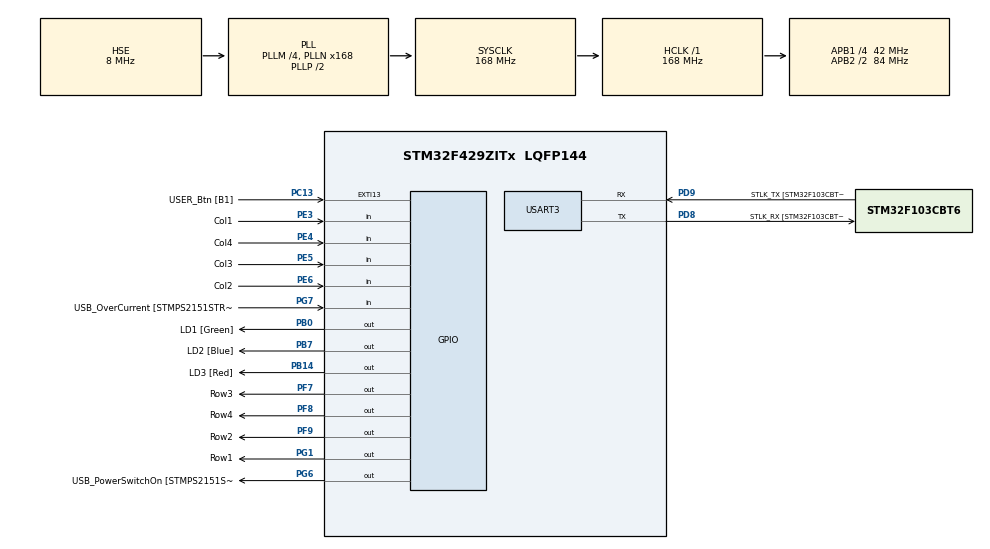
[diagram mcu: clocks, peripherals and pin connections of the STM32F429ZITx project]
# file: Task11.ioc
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Mcu.Family=STM32F4
Mcu.Name=STM32F429ZITx
Mcu.Package=LQFP144
NVIC.PriorityGroup=NVIC_PRIORITYGROUP_4
NVIC.TIM3_IRQn=true\:0\:0\:false\:false\:true\:true\:true\:true
PA1.GPIO_Label=RMII_REF_CLK [LAN8742A-CZ-TR_REFCLK0]
PA1.Signal=ETH_REF_CLK
PA10.GPIO_Label=USB_ID
PA10.Signal=USB_OTG_FS_ID
PA11.GPIO_Label=USB_DM
PA11.Signal=USB_OTG_FS_DM
PA12.GPIO_Label=USB_DP
PA12.Signal=USB_OTG_FS_DP
PA13.GPIO_Label=TMS
PA13.Mode=Serial_Wire
PA13.Signal=SYS_JTMS-SWDIO
PA14.GPIO_Label=TCK
PA14.Mode=Serial_Wire
PA14.Signal=SYS_JTCK-SWCLK
PA2.GPIO_Label=RMII_MDIO [LAN8742A-CZ-TR_MDIO]
PA2.Signal=ETH_MDIO
PA7.GPIO_Label=RMII_CRS_DV [LAN8742A-CZ-TR_CRS_DV]
PA7.Signal=ETH_CRS_DV
PA8.GPIO_Label=USB_SOF [TP1]
PA8.Signal=USB_OTG_FS_SOF
PA9.GPIO_Label=USB_VBUS
PA9.Signal=USB_OTG_FS_VBUS
PB0.GPIO_Label=LD1 [Green]
PB0.Signal=GPIO_Output
PB13.GPIO_Label=RMII_TXD1 [LAN8742A-CZ-TR_TXD1]
PB13.Signal=ETH_TXD1
PB14.GPIO_Label=LD3 [Red]
PB14.Signal=GPIO_Output
PB7.GPIO_Label=LD2 [Blue]
PB7.Signal=GPIO_Output
PC1.GPIO_Label=RMII_MDC [LAN8742A-CZ-TR_MDC]
PC1.Signal=ETH_MDC
PC13.GPIO_Label=USER_Btn [B1]
PC13.Signal=GPXTI13
PC14/OSC32_IN.Mode=LSE-External-Oscillator
PC14/OSC32_IN.Signal=RCC_OSC32_IN
PC15/OSC32_OUT.Mode=LSE-External-Oscillator
PC15/OSC32_OUT.Signal=RCC_OSC32_OUT
PC4.GPIO_Label=RMII_RXD0 [LAN8742A-CZ-TR_RXD0]
PC4.Signal=ETH_RXD0
PC5.GPIO_Label=RMII_RXD1 [LAN8742A-CZ-TR_RXD1]
PC5.Signal=ETH_RXD1
PD8.GPIO_Label=STLK_RX [STM32F103CBT6_PA3]
PD8.Mode=Asynchronous
PD8.Signal=USART3_TX
PD9.GPIO_Label=STLK_TX [STM32F103CBT6_PA2]
PD9.Mode=Asynchronous
PD9.Signal=USART3_RX
PE3.GPIO_Label=Col1
PE3.GPIO_PuPd=GPIO_PULLUP
PE3.Signal=GPIO_Input
PE4.GPIO_Label=Col4
PE4.GPIO_PuPd=GPIO_PULLUP
PE4.Signal=GPIO_Input
PE5.GPIO_Label=Col3
PE5.GPIO_PuPd=GPIO_PULLUP
PE5.Signal=GPIO_Input
PE6.GPIO_Label=Col2
PE6.GPIO_PuPd=GPIO_PULLUP
PE6.Signal=GPIO_Input
PF7.GPIO_Label=Row3
PF7.GPIO_ModeDefaultOutputPP=GPIO_MODE_OUTPUT_OD
PF7.GPIO_PuPd=GPIO_NOPULL
PF7.Signal=GPIO_Output
PF8.GPIO_Label=Row4
PF8.GPIO_ModeDefaultOutputPP=GPIO_MODE_OUTPUT_OD
PF8.GPIO_PuPd=GPIO_NOPULL
PF8.Signal=GPIO_Output
PF9.GPIO_Label=Row2
PF9.GPIO_ModeDefaultOutputPP=GPIO_MODE_OUTPUT_OD
PF9.GPIO_PuPd=GPIO_NOPULL
PF9.Signal=GPIO_Output
PG1.GPIO_Label=Row1
PG1.GPIO_ModeDefaultOutputPP=GPIO_MODE_OUTPUT_OD
PG1.GPIO_PuPd=GPIO_NOPULL
PG1.Signal=GPIO_Output
PG11.GPIO_Label=RMII_TX_EN [LAN8742A-CZ-TR_TXEN]
PG11.Signal=ETH_TX_EN
PG13.GPIO_Label=RMII_TXD0 [LAN8742A-CZ-TR_TXD0]
PG13.Signal=ETH_TXD0
PG6.GPIO_Label=USB_PowerSwitchOn [STMPS2151STR_EN]
PG6.Signal=GPIO_Output
PG7.GPIO_Label=USB_OverCurrent [STMPS2151STR_FAULT]
PG7.Signal=GPIO_Input
PH0/OSC_IN.GPIO_Label=MCO [STM32F103CBT6_PA8]
PH0/OSC_IN.Mode=HSE-External-Clock-Source
PH0/OSC_IN.Signal=RCC_OSC_IN
PH1/OSC_OUT.Mode=HSE-External-Clock-Source
PH1/OSC_OUT.Signal=RCC_OSC_OUT
ProjectManager.HeapSize=0x200
ProjectManager.StackSize=0x400
ProjectManager.TargetToolchain=STM32CubeIDE
RCC.48MHZClocksFreq_Value=48000000
RCC.AHBFreq_Value=168000000
RCC.APB1CLKDivider=RCC_HCLK_DIV4
RCC.APB1Freq_Value=42000000
RCC.APB1TimFreq_Value=84000000
RCC.APB2CLKDivider=RCC_HCLK_DIV2
RCC.APB2Freq_Value=84000000
RCC.APB2TimCLKDivider=2
RCC.APB2TimFreq_Value=168000000
RCC.CortexFreq_Value=168000000
RCC.HCLKFreq_Value=168000000
RCC.HSE_VALUE=8000000
RCC.HSI_VALUE=16000000
RCC.PLLM=4
RCC.PLLMUL=RCC_PLL_MUL9
RCC.PLLN=168
RCC.PLLQ=7
RCC.PLLSourceVirtual=RCC_PLLSOURCE_HSE
RCC.PRESCALERUSB=RCC_USBCLKSOURCE_PLL_DIV1_5
RCC.SYSCLKFreq_VALUE=168000000
RCC.SYSCLKSource=RCC_SYSCLKSOURCE_PLLCLK
RCC.SYSCLKSourceVirtual=RCC_SYSCLKSOURCE_PLLCLK
RCC.USBFreq_Value=48000000
RCC.VCOOutputFreq_Value=336000000
TIM3.AutoReloadPreload=TIM_AUTORELOAD_PRELOAD_ENABLE
TIM3.Period=99
TIM3.Prescaler=8399
USART3.VirtualMode=VM_ASYNC
VP_TIM3_VS_ClockSourceINT.Mode=Internal
board=NUCLEO-F429ZI

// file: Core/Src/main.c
/* USER CODE BEGIN Header */
/**
  ******************************************************************************
  * @file           : main.c
  * @brief          : Main program body
  ******************************************************************************
  * @attention
  *
  * Copyright (c) 2024 STMicroelectronics.
  * All rights reserved.
  *
  * This software is licensed under terms that can be found in the LICENSE file
  * in the root directory of this software component.
  * If no LICENSE file comes with this software, it is provided AS-IS.
  *
  ******************************************************************************
  */
/* USER CODE END Header */
#include "main.h"

/* USER CODE BEGIN Includes */
#include <stdio.h>

/* USER CODE END Includes */

TIM_HandleTypeDef htim3;

UART_HandleTypeDef huart3;

/* USER CODE BEGIN PV */
int __io_putchar(int ch)
{
ITM_SendChar(ch);
return 0;
}

static volatile char key = 0;
static const char unlock_code[] = { '7', '9', '3', '2', '#' };
static uint8_t position = 0;
static uint32_t last_press_time = 0;
static uint32_t unlock_time = 0;
static uint8_t is_unlocked = 0;

/* USER CODE END PV */

void SystemClock_Config(void);
static void MX_GPIO_Init(void);
static void MX_USART3_UART_Init(void);
static void MX_TIM3_Init(void);

int main(void)
{

  /* MCU Configuration--------------------------------------------------------*/

  /* Reset of all peripherals, Initializes the Flash interface and the Systick. */
  HAL_Init();

  /* Configure the system clock */
  SystemClock_Config();

  /* Initialize all configured peripherals */
  MX_GPIO_Init();
  MX_USART3_UART_Init();
  MX_TIM3_Init();
  /* USER CODE BEGIN 2 */

  HAL_TIM_Base_Start_IT(&htim3);

  /* USER CODE END 2 */

  /* Infinite loop */
  /* USER CODE BEGIN WHILE */
  while (1)
  {

	//  HAL_GPIO_TogglePin(LD1_GPIO_Port, LD1_Pin);
	//  HAL_Delay(300);
	 // printf("Hello World!\n");

	 // if (key != 0) {
	 //  printf("pressed '%c'\n", key);
	  // HAL_Delay(500);
	 //  key = 0;
	 // }

	  // Main Loop Logic (Place in USER CODE WHILE section)
	  if (key != 0) { // If a key is pressed
	  	last_press_time = HAL_GetTick(); // Update the last press time

	  	if (key == unlock_code[position]) { // Check if the key matches the sequence
	  		position++;
	  		if (position == 5) { // If the full sequence is entered
	  			HAL_GPIO_WritePin(LD1_GPIO_Port, LD1_Pin, GPIO_PIN_SET); // Unlock LED
	  			printf("Unlocked!\n");
	  			is_unlocked = 1;
	  			unlock_time = HAL_GetTick();
	  			position = 0; // Reset the sequence
	  		}
	  	} else { // Incorrect key pressed
	  		position = 0; // Reset the sequence
	  		printf("Incorrect key. Resetting...\n");
	  	}

	  	printf("Key pressed: %c\n", key); // Print the key to debug console
	  	HAL_Delay(200);
	  	key = 0; // Reset the key to process the next input
	  }

	  // After unlocking, turn off the LED after 5 seconds
	  	  if (is_unlocked && (HAL_GetTick() - unlock_time > 5000)) { // 5 seconds after unlocking
	  	      HAL_GPIO_WritePin(LD1_GPIO_Port, LD1_Pin, GPIO_PIN_RESET); // Turn off LED
	  	      printf("LED turned off after 5 seconds.\n"); // Debugging message for LED off
	  	      is_unlocked = 0; // Reset the unlocked state
	  	  }

	  // Handle timeout (Reset position after 10 seconds)
	  if (HAL_GetTick() - last_press_time > 10000) { // 10-second timeout
	  	position = 0; // Reset the sequence
	  }

    /* USER CODE END WHILE */

  }
}

void SystemClock_Config(void)
{
  RCC_OscInitTypeDef RCC_OscInitStruct = {0};
  RCC_ClkInitTypeDef RCC_ClkInitStruct = {0};

  /** Configure the main internal regulator output voltage
  */
  __HAL_RCC_PWR_CLK_ENABLE();
  __HAL_PWR_VOLTAGESCALING_CONFIG(PWR_REGULATOR_VOLTAGE_SCALE1);

  /** Initializes the RCC Oscillators according to the specified parameters
  * in the RCC_OscInitTypeDef structure.
  */
  RCC_OscInitStruct.OscillatorType = RCC_OSCILLATORTYPE_HSE;
  RCC_OscInitStruct.HSEState = RCC_HSE_BYPASS;
  RCC_OscInitStruct.PLL.PLLState = RCC_PLL_ON;
  RCC_OscInitStruct.PLL.PLLSource = RCC_PLLSOURCE_HSE;
  RCC_OscInitStruct.PLL.PLLM = 4;
  RCC_OscInitStruct.PLL.PLLN = 168;
  RCC_OscInitStruct.PLL.PLLP = RCC_PLLP_DIV2;
  RCC_OscInitStruct.PLL.PLLQ = 7;
  if (HAL_RCC_OscConfig(&RCC_OscInitStruct) != HAL_OK)
  {
    Error_Handler();
  }

  /** Initializes the CPU, AHB and APB buses clocks
  */
  RCC_ClkInitStruct.ClockType = RCC_CLOCKTYPE_HCLK|RCC_CLOCKTYPE_SYSCLK
                              |RCC_CLOCKTYPE_PCLK1|RCC_CLOCKTYPE_PCLK2;
  RCC_ClkInitStruct.SYSCLKSource = RCC_SYSCLKSOURCE_PLLCLK;
  RCC_ClkInitStruct.AHBCLKDivider = RCC_SYSCLK_DIV1;
  RCC_ClkInitStruct.APB1CLKDivider = RCC_HCLK_DIV4;
  RCC_ClkInitStruct.APB2CLKDivider = RCC_HCLK_DIV2;

  if (HAL_RCC_ClockConfig(&RCC_ClkInitStruct, FLASH_LATENCY_5) != HAL_OK)
  {
    Error_Handler();
  }
}

static void MX_TIM3_Init(void)
{

  TIM_ClockConfigTypeDef sClockSourceConfig = {0};
  TIM_MasterConfigTypeDef sMasterConfig = {0};

  htim3.Instance = TIM3;
  htim3.Init.Prescaler = 8399;
  htim3.Init.CounterMode = TIM_COUNTERMODE_UP;
  htim3.Init.Period = 99;
  htim3.Init.ClockDivision = TIM_CLOCKDIVISION_DIV1;
  htim3.Init.AutoReloadPreload = TIM_AUTORELOAD_PRELOAD_ENABLE;
  if (HAL_TIM_Base_Init(&htim3) != HAL_OK)
  {
    Error_Handler();
  }
  sClockSourceConfig.ClockSource = TIM_CLOCKSOURCE_INTERNAL;
  if (HAL_TIM_ConfigClockSource(&htim3, &sClockSourceConfig) != HAL_OK)
  {
    Error_Handler();
  }
  sMasterConfig.MasterOutputTrigger = TIM_TRGO_RESET;
  sMasterConfig.MasterSlaveMode = TIM_MASTERSLAVEMODE_DISABLE;
  if (HAL_TIMEx_MasterConfigSynchronization(&htim3, &sMasterConfig) != HAL_OK)
  {
    Error_Handler();
  }

}

static void MX_USART3_UART_Init(void)
{

  huart3.Instance = USART3;
  huart3.Init.BaudRate = 115200;
  huart3.Init.WordLength = UART_WORDLENGTH_8B;
  huart3.Init.StopBits = UART_STOPBITS_1;
  huart3.Init.Parity = UART_PARITY_NONE;
  huart3.Init.Mode = UART_MODE_TX_RX;
  huart3.Init.HwFlowCtl = UART_HWCONTROL_NONE;
  huart3.Init.OverSampling = UART_OVERSAMPLING_16;
  if (HAL_UART_Init(&huart3) != HAL_OK)
  {
    Error_Handler();
  }

}

static void MX_GPIO_Init(void)
{
  GPIO_InitTypeDef GPIO_InitStruct = {0};

  /* GPIO Ports Clock Enable */
  __HAL_RCC_GPIOE_CLK_ENABLE();
  __HAL_RCC_GPIOC_CLK_ENABLE();
  __HAL_RCC_GPIOF_CLK_ENABLE();
  __HAL_RCC_GPIOH_CLK_ENABLE();
  __HAL_RCC_GPIOA_CLK_ENABLE();
  __HAL_RCC_GPIOB_CLK_ENABLE();
  __HAL_RCC_GPIOG_CLK_ENABLE();
  __HAL_RCC_GPIOD_CLK_ENABLE();

  /*Configure GPIO pin Output Level */
  HAL_GPIO_WritePin(GPIOF, Row3_Pin|Row4_Pin|Row2_Pin, GPIO_PIN_RESET);

  /*Configure GPIO pin Output Level */
  HAL_GPIO_WritePin(GPIOB, LD1_Pin|LD3_Pin|LD2_Pin, GPIO_PIN_RESET);

  /*Configure GPIO pin Output Level */
  HAL_GPIO_WritePin(GPIOG, Row1_Pin|USB_PowerSwitchOn_Pin, GPIO_PIN_RESET);

  /*Configure GPIO pins : Col1_Pin Col4_Pin Col3_Pin Col2_Pin */
  GPIO_InitStruct.Pin = Col1_Pin|Col4_Pin|Col3_Pin|Col2_Pin;
  GPIO_InitStruct.Mode = GPIO_MODE_INPUT;
  GPIO_InitStruct.Pull = GPIO_PULLUP;
  HAL_GPIO_Init(GPIOE, &GPIO_InitStruct);

  /*Configure GPIO pin : USER_Btn_Pin */
  GPIO_InitStruct.Pin = USER_Btn_Pin;
  GPIO_InitStruct.Mode = GPIO_MODE_IT_RISING;
  GPIO_InitStruct.Pull = GPIO_NOPULL;
  HAL_GPIO_Init(USER_Btn_GPIO_Port, &GPIO_InitStruct);

  /*Configure GPIO pins : Row3_Pin Row4_Pin Row2_Pin */
  GPIO_InitStruct.Pin = Row3_Pin|Row4_Pin|Row2_Pin;
  GPIO_InitStruct.Mode = GPIO_MODE_OUTPUT_OD;
  GPIO_InitStruct.Pull = GPIO_NOPULL;
  GPIO_InitStruct.Speed = GPIO_SPEED_FREQ_LOW;
  HAL_GPIO_Init(GPIOF, &GPIO_InitStruct);

  /*Configure GPIO pins : RMII_MDC_Pin RMII_RXD0_Pin RMII_RXD1_Pin */
  GPIO_InitStruct.Pin = RMII_MDC_Pin|RMII_RXD0_Pin|RMII_RXD1_Pin;
  GPIO_InitStruct.Mode = GPIO_MODE_AF_PP;
  GPIO_InitStruct.Pull = GPIO_NOPULL;
  GPIO_InitStruct.Speed = GPIO_SPEED_FREQ_VERY_HIGH;
  GPIO_InitStruct.Alternate = GPIO_AF11_ETH;
  HAL_GPIO_Init(GPIOC, &GPIO_InitStruct);

  /*Configure GPIO pins : RMII_REF_CLK_Pin RMII_MDIO_Pin RMII_CRS_DV_Pin */
  GPIO_InitStruct.Pin = RMII_REF_CLK_Pin|RMII_MDIO_Pin|RMII_CRS_DV_Pin;
  GPIO_InitStruct.Mode = GPIO_MODE_AF_PP;
  GPIO_InitStruct.Pull = GPIO_NOPULL;
  GPIO_InitStruct.Speed = GPIO_SPEED_FREQ_VERY_HIGH;
  GPIO_InitStruct.Alternate = GPIO_AF11_ETH;
  HAL_GPIO_Init(GPIOA, &GPIO_InitStruct);

  /*Configure GPIO pins : LD1_Pin LD3_Pin LD2_Pin */
  GPIO_InitStruct.Pin = LD1_Pin|LD3_Pin|LD2_Pin;
  GPIO_InitStruct.Mode = GPIO_MODE_OUTPUT_PP;
  GPIO_InitStruct.Pull = GPIO_NOPULL;
  GPIO_InitStruct.Speed = GPIO_SPEED_FREQ_LOW;
  HAL_GPIO_Init(GPIOB, &GPIO_InitStruct);

  /*Configure GPIO pin : Row1_Pin */
  GPIO_InitStruct.Pin = Row1_Pin;
  GPIO_InitStruct.Mode = GPIO_MODE_OUTPUT_OD;
  GPIO_InitStruct.Pull = GPIO_NOPULL;
  GPIO_InitStruct.Speed = GPIO_SPEED_FREQ_LOW;
  HAL_GPIO_Init(Row1_GPIO_Port, &GPIO_InitStruct);

  /*Configure GPIO pin : RMII_TXD1_Pin */
  GPIO_InitStruct.Pin = RMII_TXD1_Pin;
  GPIO_InitStruct.Mode = GPIO_MODE_AF_PP;
  GPIO_InitStruct.Pull = GPIO_NOPULL;
  GPIO_InitStruct.Speed = GPIO_SPEED_FREQ_VERY_HIGH;
  GPIO_InitStruct.Alternate = GPIO_AF11_ETH;
  HAL_GPIO_Init(RMII_TXD1_GPIO_Port, &GPIO_InitStruct);

  /*Configure GPIO pin : USB_PowerSwitchOn_Pin */
  GPIO_InitStruct.Pin = USB_PowerSwitchOn_Pin;
  GPIO_InitStruct.Mode = GPIO_MODE_OUTPUT_PP;
  GPIO_InitStruct.Pull = GPIO_NOPULL;
  GPIO_InitStruct.Speed = GPIO_SPEED_FREQ_LOW;
  HAL_GPIO_Init(USB_PowerSwitchOn_GPIO_Port, &GPIO_InitStruct);

  /*Configure GPIO pin : USB_OverCurrent_Pin */
  GPIO_InitStruct.Pin = USB_OverCurrent_Pin;
  GPIO_InitStruct.Mode = GPIO_MODE_INPUT;
  GPIO_InitStruct.Pull = GPIO_NOPULL;
  HAL_GPIO_Init(USB_OverCurrent_GPIO_Port, &GPIO_InitStruct);

  /*Configure GPIO pins : USB_SOF_Pin USB_ID_Pin USB_DM_Pin USB_DP_Pin */
  GPIO_InitStruct.Pin = USB_SOF_Pin|USB_ID_Pin|USB_DM_Pin|USB_DP_Pin;
  GPIO_InitStruct.Mode = GPIO_MODE_AF_PP;
  GPIO_InitStruct.Pull = GPIO_NOPULL;
  GPIO_InitStruct.Speed = GPIO_SPEED_FREQ_VERY_HIGH;
  GPIO_InitStruct.Alternate = GPIO_AF10_OTG_FS;
  HAL_GPIO_Init(GPIOA, &GPIO_InitStruct);

  /*Configure GPIO pin : USB_VBUS_Pin */
  GPIO_InitStruct.Pin = USB_VBUS_Pin;
  GPIO_InitStruct.Mode = GPIO_MODE_INPUT;
  GPIO_InitStruct.Pull = GPIO_NOPULL;
  HAL_GPIO_Init(USB_VBUS_GPIO_Port, &GPIO_InitStruct);

  /*Configure GPIO pins : RMII_TX_EN_Pin RMII_TXD0_Pin */
  GPIO_InitStruct.Pin = RMII_TX_EN_Pin|RMII_TXD0_Pin;
  GPIO_InitStruct.Mode = GPIO_MODE_AF_PP;
  GPIO_InitStruct.Pull = GPIO_NOPULL;
  GPIO_InitStruct.Speed = GPIO_SPEED_FREQ_VERY_HIGH;
  GPIO_InitStruct.Alternate = GPIO_AF11_ETH;
  HAL_GPIO_Init(GPIOG, &GPIO_InitStruct);

}

/* USER CODE BEGIN 4 */

void HAL_TIM_PeriodElapsedCallback(TIM_HandleTypeDef *htim)
{
 static uint8_t row = 0;
 static const char keyboard[4][4] = {
 { '1', '2', '3', 'A' },
 { '4', '5', '6', 'B' },
 { '7', '8', '9', 'C' },
 { '*', '0', '#', 'D' },
 };

        if (key == 0) { // Only process if no key is currently registered
            if (HAL_GPIO_ReadPin(Col1_GPIO_Port, Col1_Pin) == GPIO_PIN_RESET) key = keyboard[row][0];
            if (HAL_GPIO_ReadPin(Col2_GPIO_Port, Col2_Pin) == GPIO_PIN_RESET) key = keyboard[row][1];
            if (HAL_GPIO_ReadPin(Col3_GPIO_Port, Col3_Pin) == GPIO_PIN_RESET) key = keyboard[row][2];
            if (HAL_GPIO_ReadPin(Col4_GPIO_Port, Col4_Pin) == GPIO_PIN_RESET) key = keyboard[row][3];
        }

        // Reset all rows to high
        HAL_GPIO_WritePin(Row1_GPIO_Port, Row1_Pin, GPIO_PIN_SET);
        HAL_GPIO_WritePin(Row2_GPIO_Port, Row2_Pin, GPIO_PIN_SET);
        HAL_GPIO_WritePin(Row3_GPIO_Port, Row3_Pin, GPIO_PIN_SET);
        HAL_GPIO_WritePin(Row4_GPIO_Port, Row4_Pin, GPIO_PIN_SET);

        // Activate the next row
        switch (row) {
            case 0:
                row = 1;
                HAL_GPIO_WritePin(Row2_GPIO_Port, Row2_Pin, GPIO_PIN_RESET);
                break;
            case 1:
                row = 2;
                HAL_GPIO_WritePin(Row3_GPIO_Port, Row3_Pin, GPIO_PIN_RESET);
                break;
            case 2:
                row = 3;
                HAL_GPIO_WritePin(Row4_GPIO_Port, Row4_Pin, GPIO_PIN_RESET);
                break;
            default: // case 3
                row = 0;
                HAL_GPIO_WritePin(Row1_GPIO_Port, Row1_Pin, GPIO_PIN_RESET);
                break;
        }
    }

/* USER CODE END 4 */

void Error_Handler(void)
{
	__disable_irq();
	while (1)
	{
	}
}
